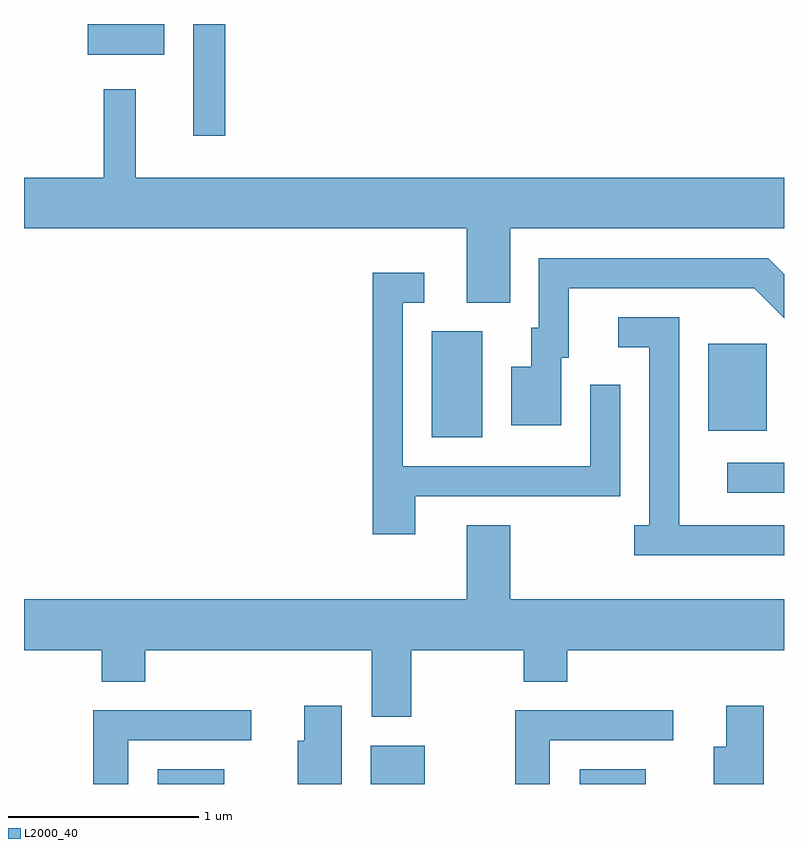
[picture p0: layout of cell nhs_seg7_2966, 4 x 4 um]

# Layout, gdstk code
import gdstk
lib = gdstk.Library(unit=1e-6, precision=1e-09)
def R(c, l, rs):  # rectangles x0, y0, x1, y1
    for r in rs: c.add(gdstk.rectangle(r[:2], r[2:], *l))
def P(c, l, *ps):  # polygons
    for p in ps: c.add(gdstk.Polygon(p, *l))
L2000_40 = (2000, 40)

nhs_seg7_2966 = lib.new_cell('nhs_seg7_2966')
R(nhs_seg7_2966, L2000_40, [(276.316,1740.252,276.664,1740.329), (277.436,1740.252,277.719,1740.454), (278.536,1740.252,278.884,1740.329), (279.313,1741.786,279.611,1741.944), (277.756,1742.076,278.024,1742.634), (279.211,1742.111,279.519,1742.569), (276.501,1743.663,276.669,1744.252), (275.946,1744.091,276.349,1744.252)])
P(nhs_seg7_2966, L2000_40, [(278.169,1743.176),(279.611,1743.176),(279.611,1743.444),(276.199,1743.444),(276.199,1743.908),(276.031,1743.908),(276.031,1743.444),(275.611,1743.444),(275.611,1743.176),(277.941,1743.176),(277.941,1742.786),(278.169,1742.786)],
  [(278.439,1742.496),(278.479,1742.496),(278.479,1742.861),(279.454,1742.861),(279.611,1742.704),(279.611,1742.935),(279.527,1743.019),(278.321,1743.019),(278.321,1742.654),(278.281,1742.654),(278.281,1742.449),(278.176,1742.449),(278.176,1742.141),(278.439,1742.141)],
  [(277.669,1741.766),(278.749,1741.766),(278.749,1742.353),(278.591,1742.353),(278.591,1741.924),(277.604,1741.924),(277.604,1742.786),(277.718,1742.786),(277.718,1742.944),(277.446,1742.944),(277.446,1741.566),(277.669,1741.566)],
  [(279.611,1741.614),(279.059,1741.614),(279.059,1742.709),(278.738,1742.709),(278.738,1742.551),(278.901,1742.551),(278.901,1741.614),(278.823,1741.614),(278.823,1741.456),(279.611,1741.456)],
  [(277.649,1740.956),(278.241,1740.956),(278.241,1740.791),(278.469,1740.791),(278.469,1740.956),(279.611,1740.956),(279.611,1741.224),(278.169,1741.224),(278.169,1741.614),(277.941,1741.614),(277.941,1741.224),(275.611,1741.224),(275.611,1740.956),(276.021,1740.956),(276.021,1740.791),(276.249,1740.791),(276.249,1740.956),(277.441,1740.956),(277.441,1740.606),(277.649,1740.606)],
  [(277.284,1740.664),(277.086,1740.664),(277.086,1740.479),(277.051,1740.479),(277.051,1740.252),(277.284,1740.252)],
  [(279.504,1740.664),(279.306,1740.664),(279.306,1740.449),(279.241,1740.449),(279.241,1740.252),(279.504,1740.252)],
  [(276.159,1740.481),(276.808,1740.481),(276.808,1740.639),(275.976,1740.639),(275.976,1740.252),(276.159,1740.252)],
  [(278.379,1740.481),(279.028,1740.481),(279.028,1740.639),(278.196,1740.639),(278.196,1740.252),(278.379,1740.252)])

lib.write_gds('nhs_seg7_2966.gds')
